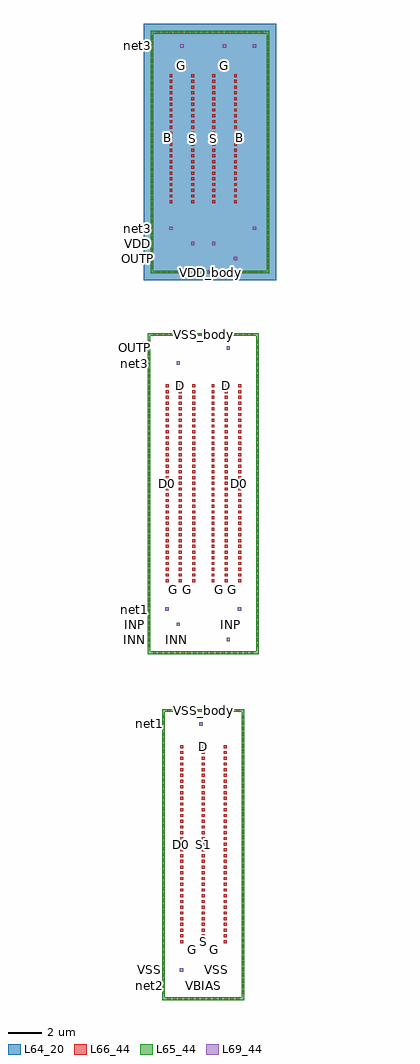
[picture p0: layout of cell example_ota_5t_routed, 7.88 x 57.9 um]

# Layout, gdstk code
from math import pi, radians
import gdstk
lib = gdstk.Library(unit=1e-6, precision=1e-09)
def R(c, l, rs):  # rectangles x0, y0, x1, y1
    for r in rs: c.add(gdstk.rectangle(r[:2], r[2:], *l))
def A(c, l, x, y, w, h, nx, ny, dx, dy):  # array of equal rectangles
    R(c, l, [(x+i*dx, y+j*dy, x+i*dx+w, y+j*dy+h) for i in range(nx) for j in range(ny)])
L64_20 = (64, 20)
L65_44 = (65, 44)
L66_44 = (66, 44)
L69_44 = (69, 44)

d_sky130_fd_pr__nfet_01v = lib.new_cell('D$sky130_fd_pr__nfet_01v8')

c_d_sky130_fd_pr__nfet_01v = lib.new_cell('D$sky130_fd_pr__nfet_01v8$2')

c_d_sky130_fd_pr__nfet_01v_ = lib.new_cell('D$sky130_fd_pr__nfet_01v8$3')

c_d_sky130_fd_pr__nfet_01v__ = lib.new_cell('D$sky130_fd_pr__nfet_01v8$1')

d_sky130_fd_pr__pfet_01v = lib.new_cell('D$sky130_fd_pr__pfet_01v8')
R(d_sky130_fd_pr__pfet_01v, L64_20, [(-0.5,-4,0.5,4)])

example_ota_5t_routed = lib.new_cell('example_ota_5t_routed')
R(example_ota_5t_routed, L64_20, [(-3.54,-15.215,4.34,0), (-2.24,-11.115,-0.3,-2.305), (0.3,-11.115,2.24,-2.305), (-2.19,-6.76,-2.09,-6.66), (2.09,-6.76,2.19,-6.66)])
R(example_ota_5t_routed, L65_44, [(-2.445,-57.905,2.445,-57.735), (-2.445,-57.735,-2.275,-40.815), (2.275,-57.735,2.445,-40.815), (-2.445,-40.815,2.445,-40.645), (-3.305,-37.395,3.305,-37.225), (-3.305,-37.225,-3.135,-18.505), (3.135,-37.225,3.305,-18.505), (-3.305,-18.505,3.305,-18.335), (-3.125,-14.8,3.925,-14.63), (-3.125,-14.63,-2.955,-0.585), (3.755,-14.63,3.925,-0.585), (-3.125,-0.585,3.925,-0.415)])
A(example_ota_5t_routed, L66_44, -2.125, -57.905, 0.17, 0.17, 13, 2, 0.34, 17.09)
A(example_ota_5t_routed, L66_44, -2.445, -57.52, 0.17, 0.17, 1, 49, 0, 0.34)
A(example_ota_5t_routed, L66_44, 2.275, -57.52, 0.17, 0.17, 1, 49, 0, 0.34)
A(example_ota_5t_routed, L66_44, -1.37, -54.525, 0.17, 0.17, 3, 35, 1.29, 0.34)
A(example_ota_5t_routed, L66_44, -2.975, -37.395, 0.17, 0.17, 18, 2, 0.34, 18.89)
A(example_ota_5t_routed, L66_44, -3.305, -36.96, 0.17, 0.17, 1, 54, 0, 0.34)
A(example_ota_5t_routed, L66_44, 3.135, -36.96, 0.17, 0.17, 1, 54, 0, 0.34)
A(example_ota_5t_routed, L66_44, -2.23, -33.115, 0.17, 0.17, 3, 35, 0.79, 0.34)
A(example_ota_5t_routed, L66_44, 0.49, -33.115, 0.17, 0.17, 3, 35, 0.79, 0.34)
A(example_ota_5t_routed, L66_44, -2.745, -14.8, 0.17, 0.17, 19, 2, 0.34, 14.215)
A(example_ota_5t_routed, L66_44, -3.125, -14.495, 0.17, 0.17, 1, 41, 0, 0.34)
A(example_ota_5t_routed, L66_44, 3.755, -14.495, 0.17, 0.17, 1, 41, 0, 0.34)
A(example_ota_5t_routed, L66_44, -2, -10.63, 0.17, 0.17, 1, 23, 0, 0.34)
A(example_ota_5t_routed, L66_44, -0.71, -10.63, 0.17, 0.17, 1, 23, 0, 0.34)
A(example_ota_5t_routed, L66_44, 0.54, -10.63, 0.17, 0.17, 1, 23, 0, 0.34)
A(example_ota_5t_routed, L66_44, 1.83, -10.63, 0.17, 0.17, 1, 23, 0, 0.34)
R(example_ota_5t_routed, L66_44, [(-0.895,-55.02,-0.725,-54.85), (-0.555,-55.02,-0.385,-54.85), (0.395,-55.02,0.565,-54.85), (0.735,-55.02,0.905,-54.85), (-1.835,-33.61,-1.665,-33.44), (-1.045,-33.61,-0.875,-33.44), (0.885,-33.61,1.055,-33.44), (1.675,-33.61,1.845,-33.44), (-1.525,-2.57,-1.355,-2.4), (-1.185,-2.57,-1.015,-2.4), (1.015,-2.57,1.185,-2.4), (1.355,-2.57,1.525,-2.4)])
R(example_ota_5t_routed, L69_44, [(-0.225,-57.12,-0.025,-56.92), (-1.39,-56.22,-1.19,-56.02), (-0.225,-41.63,-0.025,-41.43), (-0.1,-40.835,0.1,-40.635), (1.385,-36.61,1.585,-36.41), (-1.585,-35.71,-1.385,-35.51), (-2.25,-34.81,-2.05,-34.61), (2.05,-34.81,2.25,-34.61), (-1.585,-20.22,-1.385,-20.02), (1.385,-19.32,1.585,-19.12), (-0.1,-18.525,0.1,-18.325), (0.3,-14.815,0.5,-14.615), (1.815,-14.015,2.015,-13.815), (-0.725,-13.115,-0.525,-12.915), (0.525,-13.115,0.725,-12.915), (-2.015,-12.215,-1.815,-12.015), (2.94,-12.215,3.14,-12.015), (-1.37,-1.4,-1.17,-1.2), (1.17,-1.4,1.37,-1.2), (2.94,-1.4,3.14,-1.2)])
example_ota_5t_routed.add(gdstk.Reference(d_sky130_fd_pr__nfet_01v, (-0.64,-48.66), x_reflection=True))
example_ota_5t_routed.add(gdstk.Reference(c_d_sky130_fd_pr__nfet_01v, (1.76,-27.25), rotation=pi))
example_ota_5t_routed.add(gdstk.Reference(c_d_sky130_fd_pr__nfet_01v_, (-0.96,-27.25), x_reflection=True))
example_ota_5t_routed.add(gdstk.Reference(c_d_sky130_fd_pr__nfet_01v, (-1.75,-27.25), x_reflection=True))
example_ota_5t_routed.add(gdstk.Reference(c_d_sky130_fd_pr__nfet_01v__, (0.65,-48.66), x_reflection=True))
example_ota_5t_routed.add(gdstk.Reference(c_d_sky130_fd_pr__nfet_01v_, (0.97,-27.25), rotation=pi))
example_ota_5t_routed.add(gdstk.Reference(d_sky130_fd_pr__pfet_01v, (1.27,-6.805), rotation=pi, x_reflection=True))
example_ota_5t_routed.add(gdstk.Reference(d_sky130_fd_pr__pfet_01v, (-1.27,-6.805)))
example_ota_5t_routed.add(gdstk.Label('B', (-2.14,-6.71), layer=64, texttype=5))
example_ota_5t_routed.add(gdstk.Label('B', (2.14,-6.71), layer=64, texttype=5))
example_ota_5t_routed.add(gdstk.Label('D0', (-1.285,-48.66), layer=67, texttype=5))
example_ota_5t_routed.add(gdstk.Label('D0', (-2.145,-27.25), layer=67, texttype=5))
example_ota_5t_routed.add(gdstk.Label('D0', (2.155,-27.25), layer=67, texttype=5))
example_ota_5t_routed.add(gdstk.Label('VSS_body', (0,-40.73), layer=67, texttype=5))
example_ota_5t_routed.add(gdstk.Label('VSS_body', (0,-18.42), layer=67, texttype=5))
example_ota_5t_routed.add(gdstk.Label('S', (-0.625,-6.805), layer=67, texttype=5))
example_ota_5t_routed.add(gdstk.Label('S', (0.625,-6.805), layer=67, texttype=5))
example_ota_5t_routed.add(gdstk.Label('G', (-0.64,-54.935), layer=67, texttype=5))
example_ota_5t_routed.add(gdstk.Label('G', (0.65,-54.935), layer=67, texttype=5))
example_ota_5t_routed.add(gdstk.Label('G', (-1.75,-33.525), layer=67, texttype=5))
example_ota_5t_routed.add(gdstk.Label('G', (-0.96,-33.525), layer=67, texttype=5))
example_ota_5t_routed.add(gdstk.Label('G', (0.97,-33.525), layer=67, texttype=5))
example_ota_5t_routed.add(gdstk.Label('G', (1.76,-33.525), layer=67, texttype=5))
example_ota_5t_routed.add(gdstk.Label('G', (-1.27,-2.485), layer=67, texttype=5))
example_ota_5t_routed.add(gdstk.Label('G', (1.27,-2.485), layer=67, texttype=5))
example_ota_5t_routed.add(gdstk.Label('D', (-1.915,-6.805), layer=67, texttype=5))
example_ota_5t_routed.add(gdstk.Label('D', (1.915,-6.805), layer=67, texttype=5))
example_ota_5t_routed.add(gdstk.Label('VDD_body', (0.4,-14.715), layer=67, texttype=5))
example_ota_5t_routed.add(gdstk.Label('S1', (0.005,-48.66), layer=67, texttype=5))
example_ota_5t_routed.add(gdstk.Label('S1', (-1.355,-27.25), layer=67, texttype=5))
example_ota_5t_routed.add(gdstk.Label('S1', (1.365,-27.25), layer=67, texttype=5))
example_ota_5t_routed.add(gdstk.Label('S', (-0.625,-6.705), layer=68, texttype=5))
example_ota_5t_routed.add(gdstk.Label('S', (0.625,-6.705), layer=68, texttype=5))
example_ota_5t_routed.add(gdstk.Label('G', (0.005,-54.935), layer=68, texttype=5))
example_ota_5t_routed.add(gdstk.Label('G', (-1.355,-33.525), layer=68, texttype=5))
example_ota_5t_routed.add(gdstk.Label('G', (1.365,-33.525), layer=68, texttype=5))
example_ota_5t_routed.add(gdstk.Label('G', (-1.27,-2.485), layer=68, texttype=5))
example_ota_5t_routed.add(gdstk.Label('G', (1.27,-2.485), layer=68, texttype=5))
example_ota_5t_routed.add(gdstk.Label('D', (-1.915,-6.705), layer=68, texttype=5))
example_ota_5t_routed.add(gdstk.Label('D', (1.915,-6.705), layer=68, texttype=5))
example_ota_5t_routed.add(gdstk.Label('S', (0.005,-54.45), layer=69, texttype=5))
example_ota_5t_routed.add(gdstk.Label('S', (-1.355,-33.04), layer=69, texttype=5))
example_ota_5t_routed.add(gdstk.Label('S', (1.365,-33.04), layer=69, texttype=5))
example_ota_5t_routed.add(gdstk.Label('D', (0.005,-42.87), layer=69, texttype=5))
example_ota_5t_routed.add(gdstk.Label('D', (-1.355,-21.46), layer=69, texttype=5))
example_ota_5t_routed.add(gdstk.Label('D', (1.365,-21.46), layer=69, texttype=5))
example_ota_5t_routed.add(gdstk.Label('VSS', (-3.21,-56.12), layer=70, texttype=5))
example_ota_5t_routed.add(gdstk.Label('VDD', (-3.89,-13.015), layer=70, texttype=5))
example_ota_5t_routed.add(gdstk.Label('net2', (-3.21,-57.02), layer=70, texttype=5))
example_ota_5t_routed.add(gdstk.Label('net1', (-3.21,-41.53), layer=70, texttype=5))
example_ota_5t_routed.add(gdstk.Label('net1', (-4.07,-34.71), layer=70, texttype=5))
example_ota_5t_routed.add(gdstk.Label('INP', (-4.07,-35.61), layer=70, texttype=5))
example_ota_5t_routed.add(gdstk.Label('INN', (-4.07,-36.51), layer=70, texttype=5))
example_ota_5t_routed.add(gdstk.Label('net3', (-4.07,-20.12), layer=70, texttype=5))
example_ota_5t_routed.add(gdstk.Label('net3', (-3.89,-12.115), layer=70, texttype=5))
example_ota_5t_routed.add(gdstk.Label('net3', (-3.89,-1.3), layer=70, texttype=5))
example_ota_5t_routed.add(gdstk.Label('OUTP', (-4.07,-19.22), layer=70, texttype=5))
example_ota_5t_routed.add(gdstk.Label('OUTP', (-3.89,-13.915), layer=70, texttype=5))
example_ota_5t_routed.add(gdstk.Label('VSS', (0.8,-56.125), layer=71, texttype=5))
example_ota_5t_routed.add(gdstk.Label('VDD', (0,-14.715), layer=71, texttype=5))
example_ota_5t_routed.add(gdstk.Label('VBIAS', (0,-57.025), layer=71, texttype=5))
example_ota_5t_routed.add(gdstk.Label('INP', (1.6,-35.615), layer=71, texttype=5))
example_ota_5t_routed.add(gdstk.Label('INN', (-1.6,-36.515), layer=71, texttype=5))
example_ota_5t_routed.add(gdstk.Label('OUTP', (-1.6,-19.225), layer=71, texttype=5))

lib.write_gds('example_ota_5t_routed.gds')
